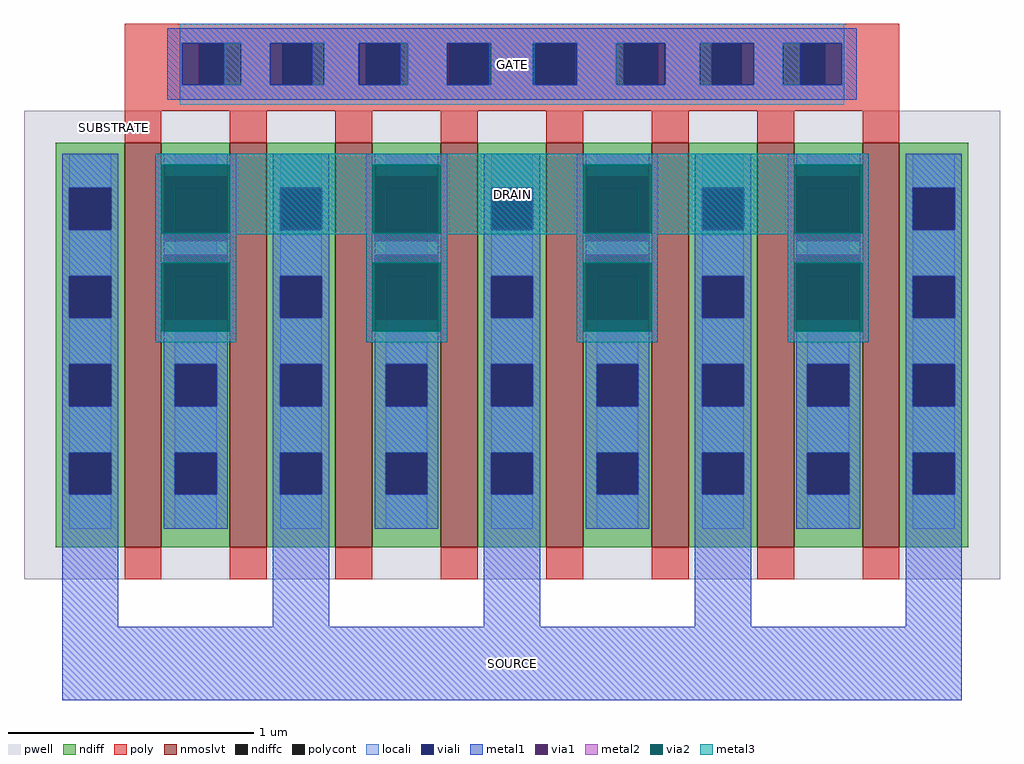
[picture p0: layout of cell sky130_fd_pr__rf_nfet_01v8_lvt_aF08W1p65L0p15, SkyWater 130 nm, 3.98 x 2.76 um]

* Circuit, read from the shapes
.subckt sky130_fd_pr__rf_nfet_01v8_lvt_aF08W1p65L0p15 DRAIN GATE SOURCE SUBSTRATE
XM1 DRAIN GATE SOURCE SUBSTRATE sky130_fd_pr__nfet_01v8_lvt w=1.65 l=0.15 m=8
.ends

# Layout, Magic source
magic
tech sky130A
magscale 1 2
<< pwell >>
rect 10 10 806 392
<< nmoslvt >>
rect 92 36 122 366
rect 178 36 208 366
rect 264 36 294 366
rect 350 36 380 366
rect 436 36 466 366
rect 522 36 552 366
rect 608 36 638 366
rect 694 36 724 366
<< ndiff >>
rect 36 329 92 366
rect 36 295 47 329
rect 81 295 92 329
rect 36 257 92 295
rect 36 223 47 257
rect 81 223 92 257
rect 36 185 92 223
rect 36 151 47 185
rect 81 151 92 185
rect 36 113 92 151
rect 36 79 47 113
rect 81 79 92 113
rect 36 36 92 79
rect 122 329 178 366
rect 122 295 133 329
rect 167 295 178 329
rect 122 257 178 295
rect 122 223 133 257
rect 167 223 178 257
rect 122 185 178 223
rect 122 151 133 185
rect 167 151 178 185
rect 122 113 178 151
rect 122 79 133 113
rect 167 79 178 113
rect 122 36 178 79
rect 208 329 264 366
rect 208 295 219 329
rect 253 295 264 329
rect 208 257 264 295
rect 208 223 219 257
rect 253 223 264 257
rect 208 185 264 223
rect 208 151 219 185
rect 253 151 264 185
rect 208 113 264 151
rect 208 79 219 113
rect 253 79 264 113
rect 208 36 264 79
rect 294 329 350 366
rect 294 295 305 329
rect 339 295 350 329
rect 294 257 350 295
rect 294 223 305 257
rect 339 223 350 257
rect 294 185 350 223
rect 294 151 305 185
rect 339 151 350 185
rect 294 113 350 151
rect 294 79 305 113
rect 339 79 350 113
rect 294 36 350 79
rect 380 329 436 366
rect 380 295 391 329
rect 425 295 436 329
rect 380 257 436 295
rect 380 223 391 257
rect 425 223 436 257
rect 380 185 436 223
rect 380 151 391 185
rect 425 151 436 185
rect 380 113 436 151
rect 380 79 391 113
rect 425 79 436 113
rect 380 36 436 79
rect 466 329 522 366
rect 466 295 477 329
rect 511 295 522 329
rect 466 257 522 295
rect 466 223 477 257
rect 511 223 522 257
rect 466 185 522 223
rect 466 151 477 185
rect 511 151 522 185
rect 466 113 522 151
rect 466 79 477 113
rect 511 79 522 113
rect 466 36 522 79
rect 552 329 608 366
rect 552 295 563 329
rect 597 295 608 329
rect 552 257 608 295
rect 552 223 563 257
rect 597 223 608 257
rect 552 185 608 223
rect 552 151 563 185
rect 597 151 608 185
rect 552 113 608 151
rect 552 79 563 113
rect 597 79 608 113
rect 552 36 608 79
rect 638 329 694 366
rect 638 295 649 329
rect 683 295 694 329
rect 638 257 694 295
rect 638 223 649 257
rect 683 223 694 257
rect 638 185 694 223
rect 638 151 649 185
rect 683 151 694 185
rect 638 113 694 151
rect 638 79 649 113
rect 683 79 694 113
rect 638 36 694 79
rect 724 329 780 366
rect 724 295 735 329
rect 769 295 780 329
rect 724 257 780 295
rect 724 223 735 257
rect 769 223 780 257
rect 724 185 780 223
rect 724 151 735 185
rect 769 151 780 185
rect 724 113 780 151
rect 724 79 735 113
rect 769 79 780 113
rect 724 36 780 79
<< ndiffc >>
rect 47 295 81 329
rect 47 223 81 257
rect 47 151 81 185
rect 47 79 81 113
rect 133 295 167 329
rect 133 223 167 257
rect 133 151 167 185
rect 133 79 167 113
rect 219 295 253 329
rect 219 223 253 257
rect 219 151 253 185
rect 219 79 253 113
rect 305 295 339 329
rect 305 223 339 257
rect 305 151 339 185
rect 305 79 339 113
rect 391 295 425 329
rect 391 223 425 257
rect 391 151 425 185
rect 391 79 425 113
rect 477 295 511 329
rect 477 223 511 257
rect 477 151 511 185
rect 477 79 511 113
rect 563 295 597 329
rect 563 223 597 257
rect 563 151 597 185
rect 563 79 597 113
rect 649 295 683 329
rect 649 223 683 257
rect 649 151 683 185
rect 649 79 683 113
rect 735 295 769 329
rect 735 223 769 257
rect 735 151 769 185
rect 735 79 769 113
<< poly >>
rect 92 447 724 463
rect 92 413 153 447
rect 187 413 221 447
rect 255 413 289 447
rect 323 413 357 447
rect 391 413 425 447
rect 459 413 493 447
rect 527 413 561 447
rect 595 413 629 447
rect 663 413 724 447
rect 92 392 724 413
rect 92 366 122 392
rect 178 366 208 392
rect 264 366 294 392
rect 350 366 380 392
rect 436 366 466 392
rect 522 366 552 392
rect 608 366 638 392
rect 694 366 724 392
rect 92 10 122 36
rect 178 10 208 36
rect 264 10 294 36
rect 350 10 380 36
rect 436 10 466 36
rect 522 10 552 36
rect 608 10 638 36
rect 694 10 724 36
<< polycont >>
rect 153 413 187 447
rect 221 413 255 447
rect 289 413 323 447
rect 357 413 391 447
rect 425 413 459 447
rect 493 413 527 447
rect 561 413 595 447
rect 629 413 663 447
<< locali >>
rect 137 447 679 463
rect 137 413 139 447
rect 187 413 211 447
rect 255 413 283 447
rect 323 413 355 447
rect 391 413 425 447
rect 461 413 493 447
rect 533 413 561 447
rect 605 413 629 447
rect 677 413 679 447
rect 137 397 679 413
rect 47 329 81 357
rect 47 257 81 295
rect 47 185 81 223
rect 47 113 81 151
rect 47 51 81 79
rect 133 329 167 357
rect 133 257 167 295
rect 133 185 167 223
rect 133 113 167 151
rect 133 51 167 79
rect 219 329 253 357
rect 219 257 253 295
rect 219 185 253 223
rect 219 113 253 151
rect 219 51 253 79
rect 305 329 339 357
rect 305 257 339 295
rect 305 185 339 223
rect 305 113 339 151
rect 305 51 339 79
rect 391 329 425 357
rect 391 257 425 295
rect 391 185 425 223
rect 391 113 425 151
rect 391 51 425 79
rect 477 329 511 357
rect 477 257 511 295
rect 477 185 511 223
rect 477 113 511 151
rect 477 51 511 79
rect 563 329 597 357
rect 563 257 597 295
rect 563 185 597 223
rect 563 113 597 151
rect 563 51 597 79
rect 649 329 683 357
rect 649 257 683 295
rect 649 185 683 223
rect 649 113 683 151
rect 649 51 683 79
rect 735 329 769 357
rect 735 257 769 295
rect 735 185 769 223
rect 735 113 769 151
rect 735 51 769 79
<< viali >>
rect 139 413 153 447
rect 153 413 173 447
rect 211 413 221 447
rect 221 413 245 447
rect 283 413 289 447
rect 289 413 317 447
rect 355 413 357 447
rect 357 413 389 447
rect 427 413 459 447
rect 459 413 461 447
rect 499 413 527 447
rect 527 413 533 447
rect 571 413 595 447
rect 595 413 605 447
rect 643 413 663 447
rect 663 413 677 447
rect 47 295 81 329
rect 47 223 81 257
rect 47 151 81 185
rect 47 79 81 113
rect 133 295 167 329
rect 133 223 167 257
rect 133 151 167 185
rect 133 79 167 113
rect 219 295 253 329
rect 219 223 253 257
rect 219 151 253 185
rect 219 79 253 113
rect 305 295 339 329
rect 305 223 339 257
rect 305 151 339 185
rect 305 79 339 113
rect 391 295 425 329
rect 391 223 425 257
rect 391 151 425 185
rect 391 79 425 113
rect 477 295 511 329
rect 477 223 511 257
rect 477 151 511 185
rect 477 79 511 113
rect 563 295 597 329
rect 563 223 597 257
rect 563 151 597 185
rect 563 79 597 113
rect 649 295 683 329
rect 649 223 683 257
rect 649 151 683 185
rect 649 79 683 113
rect 735 295 769 329
rect 735 223 769 257
rect 735 151 769 185
rect 735 79 769 113
<< metal1 >>
rect 127 447 689 459
rect 127 413 139 447
rect 173 413 211 447
rect 245 413 283 447
rect 317 413 355 447
rect 389 413 427 447
rect 461 413 499 447
rect 533 413 571 447
rect 605 413 643 447
rect 677 413 689 447
rect 127 401 689 413
rect 41 329 87 357
rect 41 295 47 329
rect 81 295 87 329
rect 41 257 87 295
rect 41 223 47 257
rect 81 223 87 257
rect 41 185 87 223
rect 41 151 47 185
rect 81 151 87 185
rect 41 113 87 151
rect 41 79 47 113
rect 81 79 87 113
rect 41 -29 87 79
rect 124 338 176 357
rect 124 274 176 286
rect 124 185 176 222
rect 124 151 133 185
rect 167 151 176 185
rect 124 113 176 151
rect 124 79 133 113
rect 167 79 176 113
rect 124 51 176 79
rect 213 329 259 357
rect 213 295 219 329
rect 253 295 259 329
rect 213 257 259 295
rect 213 223 219 257
rect 253 223 259 257
rect 213 185 259 223
rect 213 151 219 185
rect 253 151 259 185
rect 213 113 259 151
rect 213 79 219 113
rect 253 79 259 113
rect 213 -29 259 79
rect 296 338 348 357
rect 296 274 348 286
rect 296 185 348 222
rect 296 151 305 185
rect 339 151 348 185
rect 296 113 348 151
rect 296 79 305 113
rect 339 79 348 113
rect 296 51 348 79
rect 385 329 431 357
rect 385 295 391 329
rect 425 295 431 329
rect 385 257 431 295
rect 385 223 391 257
rect 425 223 431 257
rect 385 185 431 223
rect 385 151 391 185
rect 425 151 431 185
rect 385 113 431 151
rect 385 79 391 113
rect 425 79 431 113
rect 385 -29 431 79
rect 468 338 520 357
rect 468 274 520 286
rect 468 185 520 222
rect 468 151 477 185
rect 511 151 520 185
rect 468 113 520 151
rect 468 79 477 113
rect 511 79 520 113
rect 468 51 520 79
rect 557 329 603 357
rect 557 295 563 329
rect 597 295 603 329
rect 557 257 603 295
rect 557 223 563 257
rect 597 223 603 257
rect 557 185 603 223
rect 557 151 563 185
rect 597 151 603 185
rect 557 113 603 151
rect 557 79 563 113
rect 597 79 603 113
rect 557 -29 603 79
rect 640 338 692 357
rect 640 274 692 286
rect 640 185 692 222
rect 640 151 649 185
rect 683 151 692 185
rect 640 113 692 151
rect 640 79 649 113
rect 683 79 692 113
rect 640 51 692 79
rect 729 329 775 357
rect 729 295 735 329
rect 769 295 775 329
rect 729 257 775 295
rect 729 223 735 257
rect 769 223 775 257
rect 729 185 775 223
rect 729 151 735 185
rect 769 151 775 185
rect 729 113 775 151
rect 729 79 735 113
rect 769 79 775 113
rect 729 -29 775 79
rect 41 -89 775 -29
<< via1 >>
rect 124 329 176 338
rect 124 295 133 329
rect 133 295 167 329
rect 167 295 176 329
rect 124 286 176 295
rect 124 257 176 274
rect 124 223 133 257
rect 133 223 167 257
rect 167 223 176 257
rect 124 222 176 223
rect 296 329 348 338
rect 296 295 305 329
rect 305 295 339 329
rect 339 295 348 329
rect 296 286 348 295
rect 296 257 348 274
rect 296 223 305 257
rect 305 223 339 257
rect 339 223 348 257
rect 296 222 348 223
rect 468 329 520 338
rect 468 295 477 329
rect 477 295 511 329
rect 511 295 520 329
rect 468 286 520 295
rect 468 257 520 274
rect 468 223 477 257
rect 477 223 511 257
rect 511 223 520 257
rect 468 222 520 223
rect 640 329 692 338
rect 640 295 649 329
rect 649 295 683 329
rect 683 295 692 329
rect 640 286 692 295
rect 640 257 692 274
rect 640 223 649 257
rect 649 223 683 257
rect 683 223 692 257
rect 640 222 692 223
<< metal2 >>
rect 117 348 183 357
rect 117 292 122 348
rect 178 292 183 348
rect 117 286 124 292
rect 176 286 183 292
rect 117 274 183 286
rect 117 268 124 274
rect 176 268 183 274
rect 117 212 122 268
rect 178 212 183 268
rect 117 203 183 212
rect 289 348 355 357
rect 289 292 294 348
rect 350 292 355 348
rect 289 286 296 292
rect 348 286 355 292
rect 289 274 355 286
rect 289 268 296 274
rect 348 268 355 274
rect 289 212 294 268
rect 350 212 355 268
rect 289 203 355 212
rect 461 348 527 357
rect 461 292 466 348
rect 522 292 527 348
rect 461 286 468 292
rect 520 286 527 292
rect 461 274 527 286
rect 461 268 468 274
rect 520 268 527 274
rect 461 212 466 268
rect 522 212 527 268
rect 461 203 527 212
rect 633 348 699 357
rect 633 292 638 348
rect 694 292 699 348
rect 633 286 640 292
rect 692 286 699 292
rect 633 274 699 286
rect 633 268 640 274
rect 692 268 699 274
rect 633 212 638 268
rect 694 212 699 268
rect 633 203 699 212
<< via2 >>
rect 122 338 178 348
rect 122 292 124 338
rect 124 292 176 338
rect 176 292 178 338
rect 122 222 124 268
rect 124 222 176 268
rect 176 222 178 268
rect 122 212 178 222
rect 294 338 350 348
rect 294 292 296 338
rect 296 292 348 338
rect 348 292 350 338
rect 294 222 296 268
rect 296 222 348 268
rect 348 222 350 268
rect 294 212 350 222
rect 466 338 522 348
rect 466 292 468 338
rect 468 292 520 338
rect 520 292 522 338
rect 466 222 468 268
rect 468 222 520 268
rect 520 222 522 268
rect 466 212 522 222
rect 638 338 694 348
rect 638 292 640 338
rect 640 292 692 338
rect 692 292 694 338
rect 638 222 640 268
rect 640 222 692 268
rect 692 222 694 268
rect 638 212 694 222
<< metal3 >>
rect 117 348 699 357
rect 117 292 122 348
rect 178 292 294 348
rect 350 292 466 348
rect 522 292 638 348
rect 694 292 699 348
rect 117 291 699 292
rect 117 268 183 291
rect 117 212 122 268
rect 178 212 183 268
rect 117 203 183 212
rect 289 268 355 291
rect 289 212 294 268
rect 350 212 355 268
rect 289 203 355 212
rect 461 268 527 291
rect 461 212 466 268
rect 522 212 527 268
rect 461 203 527 212
rect 633 268 699 291
rect 633 212 638 268
rect 694 212 699 268
rect 633 203 699 212
<< labels >>
flabel metal3 s 117 291 699 357 0 FreeSans 400 0 0 0 DRAIN
port 1 nsew
flabel metal1 s 127 401 689 459 0 FreeSans 400 0 0 0 GATE
port 2 nsew
flabel metal1 s 41 -89 775 -29 0 FreeSans 400 0 0 0 SOURCE
port 3 nsew
flabel pwell s 78 371 89 386 0 FreeSans 200 0 0 0 SUBSTRATE
port 4 nsew
<< properties >>
string GDS_FILE $PDKPATH/libs.ref/sky130_fd_pr/gds/sky130_fd_pr.gds
string GDS_END 5950328
string GDS_START 5936346
string path 14.500 8.925 14.500 -2.225 
<< end >>
